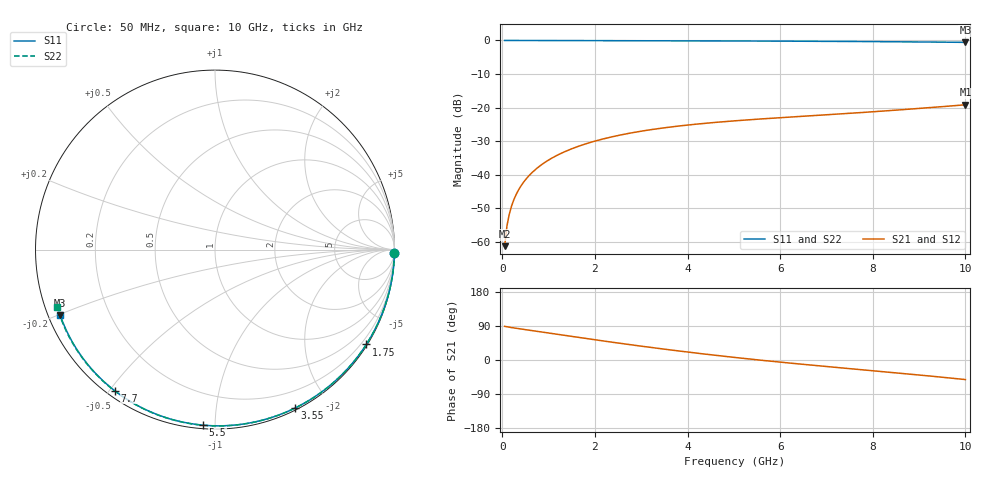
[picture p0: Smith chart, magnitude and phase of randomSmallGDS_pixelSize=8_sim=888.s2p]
! freq	dB(S11)	phase(S11)	dB(S12)	phase(S12)
!  dB(S21)	phase(S21)	dB(S22)	phase(S22)
!S-par simulation data
#  GHz  S  DB  R 50
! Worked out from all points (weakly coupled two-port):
!   200 points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, 50 MHz to 10 GHz, reference 50 ohm
!   highest |S21| = -19.18 dB at 10 GHz (marker M1); lowest = -61.3 dB at 50 MHz (marker M2)
!   lowest |S11| = -0.6 dB at 10 GHz (marker M3), VSWR 30.54, Z = 1.7 - j10.1 ohm
!   |S11| at or under -10 dB: nowhere
!   |S22| runs from -0.6 to 0.0 dB; largest |S21 - S12| = 0
!   S11 on the Smith chart (normalised r, x): 50 MHz: open; 1.75 GHz: 0.03, -3.48; 3.55 GHz: 0.02, -1.63; 5.5 GHz: 0.02, -0.93; 7.7 GHz: 0.02, -0.52; 10 GHz: 0.03, -0.20
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0.05  -0.00 -0.9  -61.34 88.8  -61.34 88.8  -0.00 -0.9
0.1  -0.00 -1.9  -55.34 87.7  -55.34 87.7  -0.00 -1.9
0.15  -0.00 -2.8  -51.85 86.6  -51.85 86.6  -0.00 -2.8
0.2  -0.00 -3.7  -49.38 85.6  -49.38 85.6  -0.00 -3.8
0.25  -0.00 -4.7  -47.47 84.6  -47.47 84.6  -0.00 -4.7
0.35  -0.00 -6.5  -44.59 82.8  -44.59 82.8  -0.01 -6.6
0.5  -0.01 -9.3  -41.54 80.1  -41.54 80.1  -0.01 -9.4
0.7  -0.02 -13.0  -38.67 76.5  -38.67 76.5  -0.02 -13.1
1  -0.02 -18.5  -35.65 71.1  -35.65 71.1  -0.02 -18.7
1.35  -0.03 -24.9  -33.16 64.8  -33.16 64.8  -0.03 -25.1
1.75  -0.04 -32.1  -31.06 57.7  -31.06 57.7  -0.04 -32.4
2.6  -0.07 -47.1  -28.06 43.1  -28.06 43.1  -0.07 -47.5
3.4  -0.09 -60.7  -26.23 30.1  -26.23 30.1  -0.09 -61.2
3.55  -0.10 -63.2  -25.95 27.8  -25.95 27.8  -0.09 -63.7
4.3  -0.12 -75.3  -24.81 16.7  -24.81 16.7  -0.12 -76.0
5.05  -0.15 -87.0  -23.93 6.3  -23.93 6.3  -0.15 -87.9
5.5  -0.17 -93.8  -23.49 0.5  -23.49 0.5  -0.17 -94.8
6.7  -0.24 -111.4  -22.43 -13.8  -22.43 -13.8  -0.24 -112.6
7.7  -0.31 -125.4  -21.55 -24.9  -21.55 -24.9  -0.31 -127.0
8.35  -0.37 -134.4  -20.93 -32.1  -20.93 -32.1  -0.37 -136.2
9.2  -0.47 -146.1  -20.06 -41.9  -20.06 -41.9  -0.47 -148.3
10  -0.57 -157.2  -19.18 -51.6  -19.18 -51.6  -0.57 -159.9
